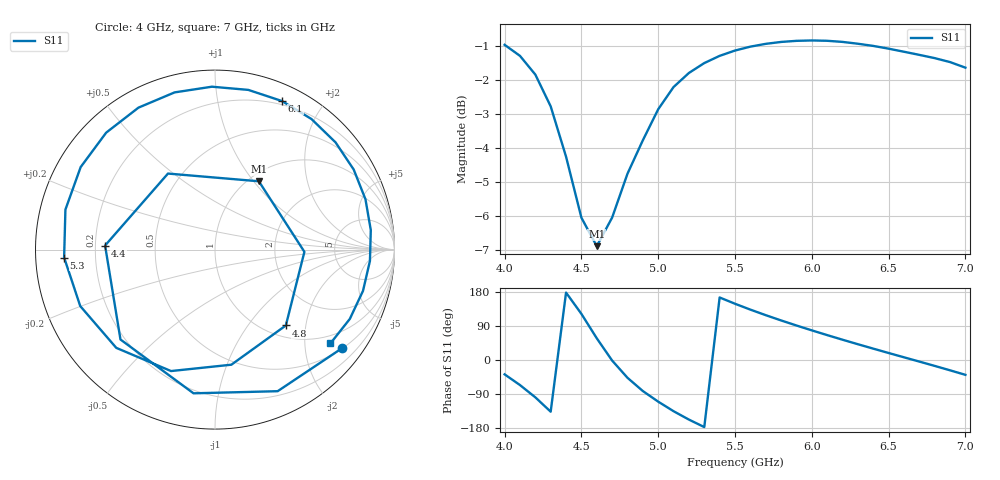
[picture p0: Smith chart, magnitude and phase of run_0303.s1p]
! Touchstone file exported from HFSS 2024.2.0
!  File:  C:/Users/wsak9/Desktop/Sim Fast/Widenad Patch/WP_AI_V1_sweep.aedt
!  Generated:  03:47:07 AM Oct 14, 2026
!  Design:  A1_model
!  Project:  WP_AI_V1_sweep
!  Setup:  Setup1
!  Solution:  Sweep
! Variables:
!  Air_gap = 1.86mm
!  Curve_Amp1 = 1.28
!  Curve_len1 = 1
!  Curve_pos = 12.315mm
!  Extra = 3.54mm
!  H_sub = 0.79mm
!  L_Patch = 20.63mm
!  L_Patch1 = 14.45mm
!  Sx = 2.69mm
!  Sy = 3.34mm
!  WS = 0.98mm
!  W_Patch = 18.65mm
!  W_Patch1 = 10.91mm
!Data is not renormalized
# GHz S MA
! Terminal data exported
! Port[1] = 1
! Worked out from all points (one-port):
!   31 points, 4 GHz to 7 GHz, reference per port
!   lowest |S11| = -6.9 dB at 4.6 GHz (marker M1), VSWR 2.65
!   |S11| at or under -10 dB: nowhere
!   S11 on the Smith chart (normalised r, x): 4 GHz: 0.51, -2.83; 4.4 GHz: 0.24, +0.02; 4.8 GHz: 1.22, -1.55; 5.3 GHz: 0.09, -0.03; 6.1 GHz: 0.16, +1.54; 7 GHz: 0.78, -2.61
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4  0.8956 -37.9
4.1  0.8627 -66.1
4.2  0.8096 -98.5
4.3  0.7268 -136.4
4.4  0.6128 177.9
4.5  0.4981 121.7
4.6  0.4523 57.3
4.7  0.4983 -1.4
4.8  0.5783 -47.0
4.9  0.6478 -81.9
5  0.7197 -109.9
5.1  0.7761 -135.1
5.2  0.814 -157.3
5.3  0.8418 -177.0
5.4  0.8627 165.0
5.5  0.8783 148.4
5.6  0.8901 132.9
5.7  0.8985 118.3
5.8  0.9043 104.4
5.9  0.9077 91.1
6  0.9089 78.2
6.1  0.9079 65.7
6.3  0.8989 41.7
6.4  0.8923 30.0
6.5  0.884 18.5
6.7  0.8656 -4.2
6.8  0.8561 -15.6
7  0.8288 -39.1
